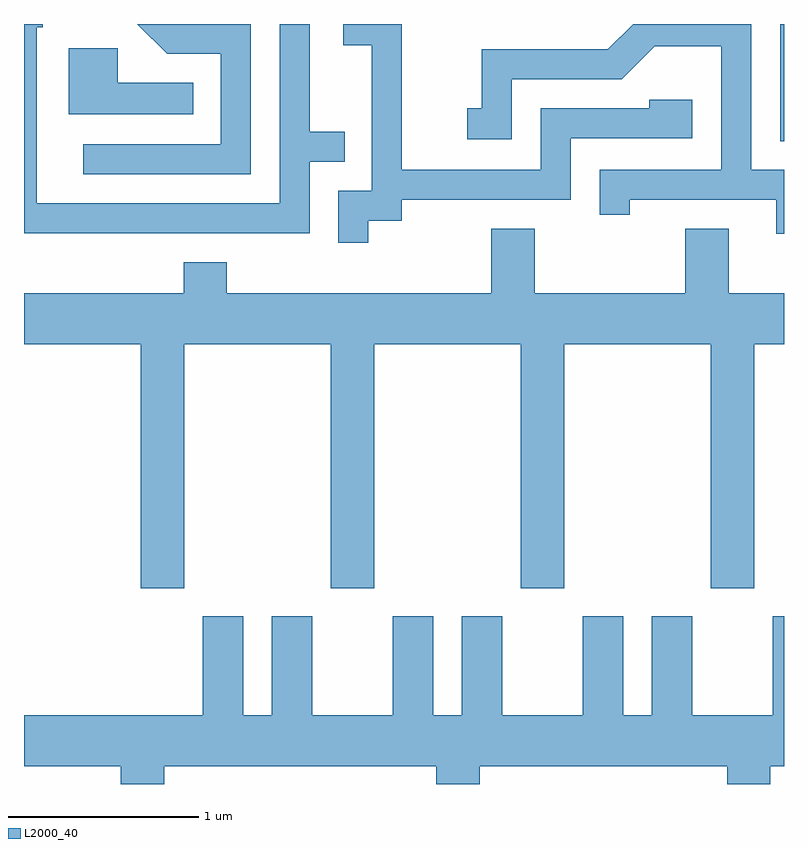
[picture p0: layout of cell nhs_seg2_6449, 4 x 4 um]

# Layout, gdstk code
import gdstk
lib = gdstk.Library(unit=1e-6, precision=1e-09)
def R(c, l, rs):  # rectangles x0, y0, x1, y1
    for r in rs: c.add(gdstk.rectangle(r[:2], r[2:], *l))
def P(c, l, *ps):  # polygons
    for p in ps: c.add(gdstk.Polygon(p, *l))
L2000_40 = (2000, 40)

nhs_seg2_6449 = lib.new_cell('nhs_seg2_6449')
R(nhs_seg2_6449, L2000_40, [(379.591,1027.186,379.611,1027.802)])
P(nhs_seg2_6449, L2000_40, [(379.611,1027.034),(379.439,1027.034),(379.439,1027.802),(378.817,1027.802),(378.684,1027.669),(378.021,1027.669),(378.021,1027.359),(377.943,1027.359),(377.943,1027.196),(378.179,1027.196),(378.179,1027.511),(378.757,1027.511),(378.932,1027.686),(379.281,1027.686),(379.281,1027.034),(378.641,1027.034),(378.641,1026.798),(378.799,1026.798),(378.799,1026.876),(379.571,1026.876),(379.571,1026.698),(379.611,1026.698)],
  [(377.424,1026.766),(377.599,1026.766),(377.599,1026.876),(378.489,1026.876),(378.489,1027.201),(379.129,1027.201),(379.129,1027.404),(378.901,1027.404),(378.901,1027.359),(378.331,1027.359),(378.331,1027.034),(377.599,1027.034),(377.599,1027.802),(377.291,1027.802),(377.291,1027.691),(377.441,1027.691),(377.441,1026.924),(377.266,1026.924),(377.266,1026.652),(377.424,1026.652)],
  [(377.114,1027.076),(377.298,1027.076),(377.298,1027.234),(377.114,1027.234),(377.114,1027.802),(376.956,1027.802),(376.956,1026.859),(375.679,1026.859),(375.679,1027.786),(375.709,1027.786),(375.709,1027.802),(375.611,1027.802),(375.611,1026.701),(377.114,1026.701)],
  [(376.804,1027.802),(376.208,1027.802),(376.364,1027.646),(376.646,1027.646),(376.646,1027.169),(375.923,1027.169),(375.923,1027.011),(376.804,1027.011)],
  [(376.503,1027.494),(376.104,1027.494),(376.104,1027.674),(375.846,1027.674),(375.846,1027.326),(376.503,1027.326)],
  [(376.454,1026.116),(377.226,1026.116),(377.226,1024.831),(377.454,1024.831),(377.454,1026.116),(378.226,1026.116),(378.226,1024.831),(378.454,1024.831),(378.454,1026.116),(379.226,1026.116),(379.226,1024.831),(379.454,1024.831),(379.454,1026.116),(379.611,1026.116),(379.611,1026.384),(379.319,1026.384),(379.319,1026.724),(379.091,1026.724),(379.091,1026.384),(378.299,1026.384),(378.299,1026.724),(378.071,1026.724),(378.071,1026.384),(376.679,1026.384),(376.679,1026.549),(376.451,1026.549),(376.451,1026.384),(375.611,1026.384),(375.611,1026.116),(376.226,1026.116),(376.226,1024.831),(376.454,1024.831)],
  [(376.349,1023.896),(377.781,1023.896),(377.781,1023.802),(378.009,1023.802),(378.009,1023.896),(379.311,1023.896),(379.311,1023.802),(379.539,1023.802),(379.539,1023.896),(379.611,1023.896),(379.611,1024.684),(379.551,1024.684),(379.551,1024.164),(379.129,1024.164),(379.129,1024.684),(378.916,1024.684),(378.916,1024.164),(378.764,1024.164),(378.764,1024.684),(378.551,1024.684),(378.551,1024.164),(378.129,1024.164),(378.129,1024.684),(377.916,1024.684),(377.916,1024.164),(377.764,1024.164),(377.764,1024.684),(377.551,1024.684),(377.551,1024.164),(377.129,1024.164),(377.129,1024.684),(376.916,1024.684),(376.916,1024.164),(376.764,1024.164),(376.764,1024.684),(376.551,1024.684),(376.551,1024.164),(375.611,1024.164),(375.611,1023.896),(376.121,1023.896),(376.121,1023.802),(376.349,1023.802)])

lib.write_gds('nhs_seg2_6449.gds')
